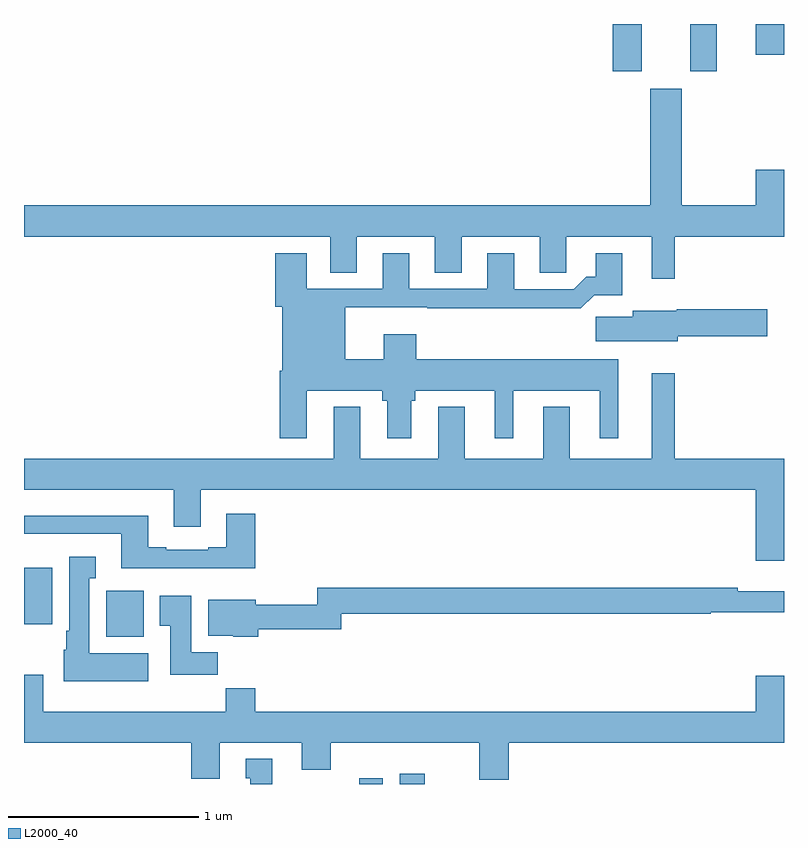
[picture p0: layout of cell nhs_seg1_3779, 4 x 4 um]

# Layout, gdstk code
import gdstk
lib = gdstk.Library(unit=1e-6, precision=1e-09)
def R(c, l, rs):  # rectangles x0, y0, x1, y1
    for r in rs: c.add(gdstk.rectangle(r[:2], r[2:], *l))
def P(c, l, *ps):  # polygons
    for p in ps: c.add(gdstk.Polygon(p, *l))
L2000_40 = (2000, 40)

nhs_seg1_3779 = lib.new_cell('nhs_seg1_3779')
R(nhs_seg1_3779, L2000_40, [(318.764,534.199,318.889,534.229), (318.977,534.199,319.108,534.253), (317.432,534.974,317.629,535.216), (317,535.04,317.149,535.336), (320.099,537.951,320.251,538.199), (320.507,537.951,320.647,538.199), (320.852,538.038,321,538.199)])
P(nhs_seg1_3779, L2000_40, [(320.425,537.08),(321,537.08),(321,537.433),(320.852,537.433),(320.852,537.244),(320.461,537.244),(320.461,537.859),(320.297,537.859),(320.297,537.244),(317,537.244),(317,537.08),(318.611,537.08),(318.611,536.89),(318.751,536.89),(318.751,537.08),(319.163,537.08),(319.163,536.89),(319.303,536.89),(319.303,537.08),(319.715,537.08),(319.715,536.89),(319.854,536.89),(319.854,537.08),(320.303,537.08),(320.303,536.859),(320.425,536.859)],
  [(318.487,536.27),(318.886,536.27),(318.886,536.217),(318.911,536.217),(318.911,536.019),(319.039,536.019),(319.039,536.217),(319.059,536.217),(319.059,536.27),(319.478,536.27),(319.478,536.019),(319.576,536.019),(319.576,536.27),(320.03,536.27),(320.03,536.019),(320.128,536.019),(320.128,536.434),(319.064,536.434),(319.064,536.566),(318.893,536.566),(318.893,536.434),(318.691,536.434),(318.691,536.708),(319.123,536.708),(319.123,536.704),(319.675,536.704),(319.675,536.702),(319.931,536.702),(320,536.771),(320.149,536.771),(320.149,536.992),(320.009,536.992),(320.009,536.869),(319.96,536.869),(319.893,536.802),(319.579,536.802),(319.579,536.992),(319.439,536.992),(319.439,536.805),(319.027,536.805),(319.027,536.992),(318.887,536.992),(318.887,536.805),(318.487,536.805),(318.487,536.992),(318.323,536.992),(318.323,536.712),(318.359,536.712),(318.359,536.374),(318.347,536.374),(318.347,536.019),(318.487,536.019)],
  [(320.44,536.555),(320.911,536.555),(320.911,536.697),(320.436,536.697),(320.436,536.689),(320.204,536.689),(320.204,536.657),(320.01,536.657),(320.01,536.528),(320.44,536.528)],
  [(321,535.912),(320.425,535.912),(320.425,536.362),(320.303,536.362),(320.303,535.912),(319.873,535.912),(319.873,536.185),(319.733,536.185),(319.733,535.912),(319.321,535.912),(319.321,536.185),(319.181,536.185),(319.181,535.912),(318.769,535.912),(318.769,536.185),(318.629,536.185),(318.629,535.912),(317,535.912),(317,535.748),(317.789,535.748),(317.789,535.554),(317.929,535.554),(317.929,535.748),(320.852,535.748),(320.852,535.374),(321,535.374)],
  [(318.218,535.621),(318.065,535.621),(318.065,535.444),(317.969,535.444),(317.969,535.431),(317.749,535.431),(317.749,535.444),(317.653,535.444),(317.653,535.612),(317,535.612),(317,535.515),(317.513,535.515),(317.513,535.334),(318.218,535.334)],
  [(317.653,534.886),(317.344,534.886),(317.344,535.283),(317.377,535.283),(317.377,535.396),(317.237,535.396),(317.237,535.006),(317.222,535.006),(317.222,534.906),(317.21,534.906),(317.21,534.74),(317.653,534.74)],
  [(318.233,535.014),(318.671,535.014),(318.671,535.096),(320.614,535.096),(320.614,535.104),(321,535.104),(321,535.213),(320.756,535.213),(320.756,535.232),(318.543,535.232),(318.543,535.142),(318.22,535.142),(318.22,535.168),(317.969,535.168),(317.969,534.98),(318.102,534.98),(318.102,534.974),(318.233,534.974)],
  [(318.02,534.892),(317.881,534.892),(317.881,535.189),(317.714,535.189),(317.714,535.033),(317.771,535.033),(317.771,534.774),(318.02,534.774)],
  [(317.101,534.775),(317,534.775),(317,534.416),(317.879,534.416),(317.879,534.227),(318.031,534.227),(318.031,534.416),(318.461,534.416),(318.461,534.275),(318.614,534.275),(318.614,534.416),(319.397,534.416),(319.397,534.222),(319.55,534.222),(319.55,534.416),(321,534.416),(321,534.769),(320.852,534.769),(320.852,534.58),(318.218,534.58),(318.218,534.704),(318.061,534.704),(318.061,534.58),(317.101,534.58)],
  [(318.307,534.331),(318.167,534.331),(318.167,534.228),(318.191,534.228),(318.191,534.199),(318.307,534.199)])

lib.write_gds('nhs_seg1_3779.gds')
